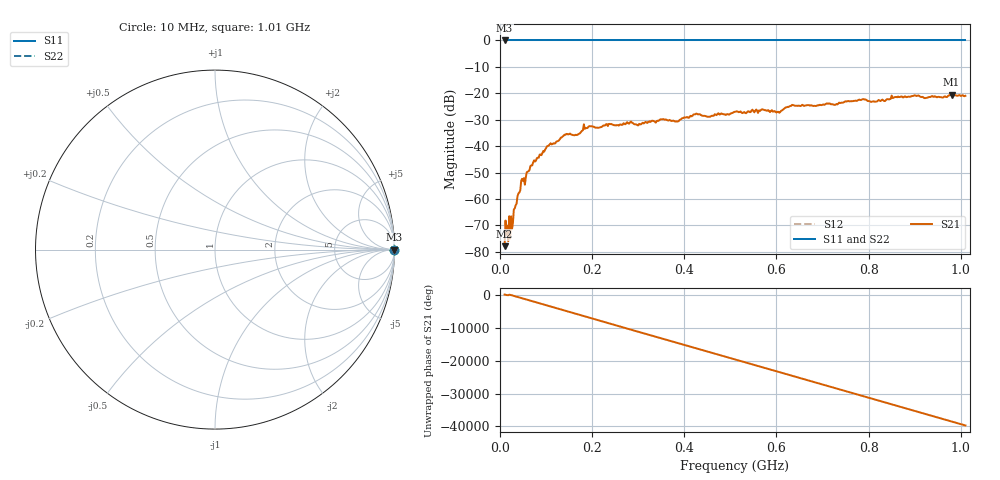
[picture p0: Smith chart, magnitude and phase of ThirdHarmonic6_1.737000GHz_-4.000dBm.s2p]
! 8/16/2025 8:55:48 PM
! C:\ANRITSUVNA\TEMP\TEMP.S2P
! CHANNEL.1
! TR.MEASUREMENT
! RAW.DATA
! RF.CORRECTION.OFF
! AVERAGING.OFF
! IF.BANDWIDTH: 5KHZ
! SWEEPTYPE:  FREQ.SWEEP(Linear)
! Reference Plane Port Info
! PORT:  PORT1  PORT2
! DISTANCE:  0  m  0  m
! TIME:  0  s  0  s
! PHASE.OFFSET:  0  deg.  0  deg.
! LOSS:  0  dB  0  dB
! REF.LOSS:  0  dB  0  dB
! REF.FREQ:  0  Hz  0  Hz
! Power Info
! POWER:  -20  dBm  -20  dBm
! EFF.POWER:  -20  dBm  -20  dBm
! SOURCE.ATTEN:  0  dB  0  dB
! TEST.ATTEN:  0  dB  0  dB
# GHZ S RI R 50.0
! FREQ.GHZ  S11RE  S11IM  S21RE  S21IM  S12RE  S12IM  S22RE  S22IM
!; PortSelection: Port_12
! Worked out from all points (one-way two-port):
!   501 points, 10 MHz to 1.01 GHz, reference 50 ohm
!   highest |S21| = -20.51 dB at 980 MHz (marker M1); lowest = -77.9 dB at 10 MHz (marker M2)
!   lowest |S11| = 0.0 dB at 10 MHz (marker M3)
!   |S11| at or under -10 dB: nowhere
!   |S22| runs from 0.0 to 0.0 dB; largest |S21 - S12| = 1.1
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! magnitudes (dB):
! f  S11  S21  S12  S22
! 10 MHz  0.0  -77.9  0.0  0.0
! 16 MHz  0.0  -70.1  0.0  0.0
! 18 MHz  0.0  -75.9  0.0  0.0
! 26 MHz  0.0  -71.4  0.0  0.0
! 34 MHz  0.0  -62.4  0.0  0.0
! 48 MHz  0.0  -52.4  0.0  0.0
! 70 MHz  0.0  -47.2  0.0  0.0
! 106 MHz  0.0  -39.7  0.0  0.0
! 142 MHz  0.0  -35.7  0.0  0.0
! 166 MHz  0.0  -35.8  0.0  0.0
! 178 MHz  0.0  -34.2  0.0  0.0
! 344 MHz  0.0  -30.4  0.0  0.0
! 384 MHz  0.0  -30.7  0.0  0.0
! 424 MHz  0.0  -27.9  0.0  0.0
! 452 MHz  0.0  -28.9  0.0  0.0
! 510 MHz  0.0  -27.0  0.0  0.0
! 604 MHz  0.0  -27.0  0.0  0.0
! 634 MHz  0.0  -24.4  0.0  0.0
! 678 MHz  0.0  -24.7  0.0  0.0
! 844 MHz  0.0  -22.3  0.0  0.0
! 980 MHz  0.0  -20.5  0.0  0.0
! 1.01 GHz  0.0  -20.9  0.0  0.0
